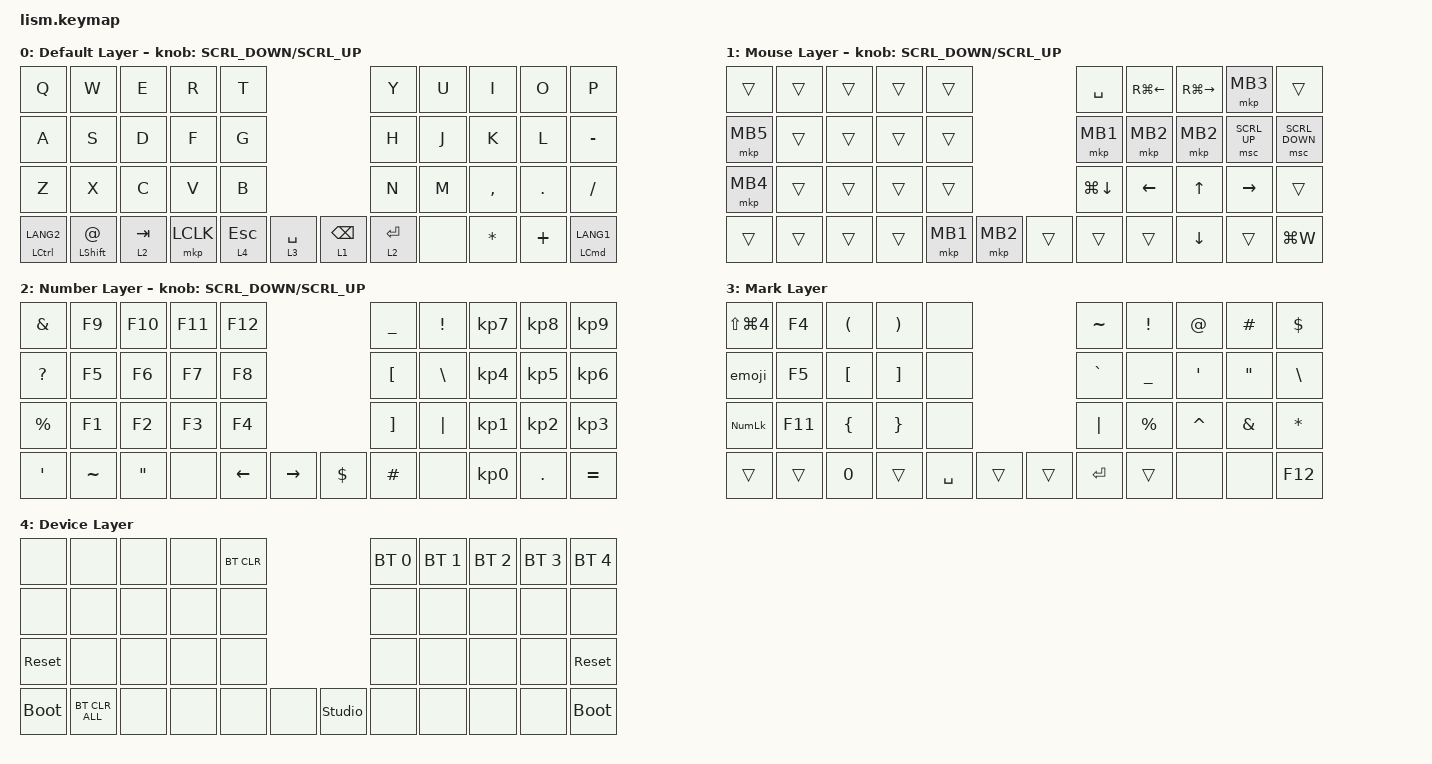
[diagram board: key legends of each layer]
#define ZMK_POINTING_DEFAULT_SCRL_VAL 200

#include <dt-bindings/zmk/mouse.h>
#include <behaviors.dtsi>
#include <dt-bindings/zmk/bt.h>
#include <dt-bindings/zmk/keys.h>
#include <dt-bindings/zmk/pointing.h>

&mt {
    tapping-term-ms = <300>;
    flavor = "balanced";
};

&lt { quick-tap-ms = <300>; };

/ {
    macros {
        emoji: emoji_macro {
            compatible = "zmk,behavior-macro";
            label = "EMOJI";
            #binding-cells = <0>;
            bindings =
                <&macro_press>,
                <&kp CAPSLOCK>,
                <&macro_tap>,
                <&kp E>,
                <&macro_release>,
                <&kp CAPSLOCK>;
        };
    };

    behaviors {
        encoder_msc: sensor_rotate_msc {
            compatible = "zmk,behavior-sensor-rotate-var";
            #sensor-binding-cells = <2>;
            bindings = <&msc>, <&msc>;

            tap-ms = <20>;
        };

        encoder_kp: sensor_rotate_kp {
            compatible = "zmk,behavior-sensor-rotate-var";
            #sensor-binding-cells = <2>;
            bindings = <&kp>, <&kp>;
        };
    };

    keymap {
        compatible = "zmk,keymap";

        default_layer {
            display-name = "Default Layer";
            bindings = <
&kp Q                   &kp W                   &kp E      &kp R      &kp T                                         &kp Y         &kp U  &kp I         &kp O     &kp P
&kp A                   &kp S                   &kp D      &kp F      &kp G                                         &kp H         &kp J  &kp K         &kp L     &kp MINUS
&kp Z                   &kp X                   &kp C      &kp V      &kp B                                         &kp N         &kp M  &kp COMMA     &kp DOT   &kp SLASH
&mt LEFT_CONTROL LANG2  &mt LEFT_SHIFT AT_SIGN  &lt 2 TAB  &mkp LCLK  &lt 4 ESCAPE  &lt 3 SPACE    &lt 1 BACKSPACE  &lt 2 RETURN  &none  &kp ASTERISK  &kp PLUS  &mt LEFT_COMMAND LANG1
            >;

            sensor-bindings = <&encoder_msc SCRL_DOWN SCRL_UP>;
        };

        layer_1 {
            display-name = "Mouse Layer";
            bindings = <
&trans    &trans  &trans  &trans  &trans                        &kp SPACE     &kp RG(LEFT)  &kp RG(RIGHT)  &mkp MB3      &trans
&mkp MB5  &trans  &trans  &trans  &trans                        &mkp MB1      &mkp MB2      &mkp MB2       &msc SCRL_UP  &msc SCRL_DOWN
&mkp MB4  &trans  &trans  &trans  &trans                        &kp LG(DOWN)  &kp LEFT      &kp UP         &kp RIGHT     &trans
&trans    &trans  &trans  &trans  &mkp MB1  &mkp MB2    &trans  &trans        &trans        &kp DOWN       &trans        &kp LG(W)
            >;

            sensor-bindings = <&encoder_msc SCRL_DOWN SCRL_UP>;
        };

        layer_2 {
            display-name = "Number Layer";
            bindings = <
&kp AMPERSAND  &kp F9     &kp F10            &kp F11  &kp F12                            &kp UNDERSCORE     &kp EXCLAMATION  &kp KP_N7        &kp KP_N8   &kp KP_N9
&kp QUESTION   &kp F5     &kp F6             &kp F7   &kp F8                             &kp LEFT_BRACKET   &kp BACKSLASH    &kp KP_N4        &kp KP_N5   &kp KP_N6
&kp PERCENT    &kp F1     &kp F2             &kp F3   &kp F4                             &kp RIGHT_BRACKET  &kp PIPE         &kp KP_N1        &kp KP_N2   &kp KP_N3
&kp SQT        &kp TILDE  &kp DOUBLE_QUOTES  &none    &kp LEFT  &kp RIGHT    &kp DOLLAR  &kp HASH           &none            &kp KP_NUMBER_0  &kp PERIOD  &kp EQUAL
            >;

            sensor-bindings = <&encoder_msc SCRL_DOWN SCRL_UP>;
        };

        layer_3 {
            display-name = "Mark Layer";
            bindings = <
&kp LS(LG(N4))  &kp F4   &kp LEFT_PARENTHESIS  &kp RIGHT_PARENTHESIS  &none                        &kp TILDE  &kp EXCLAMATION  &kp AT_SIGN       &kp HASH           &kp DOLLAR
&emoji          &kp F5   &kp LEFT_BRACKET      &kp RIGHT_BRACKET      &none                        &kp GRAVE  &kp UNDER        &kp SINGLE_QUOTE  &kp DOUBLE_QUOTES  &kp BACKSLASH
&kp KP_NUMLOCK  &kp F11  &kp LEFT_BRACE        &kp RIGHT_BRACE        &none                        &kp PIPE   &kp PERCENT      &kp CARET         &kp AMPERSAND      &kp ASTERISK
&trans          &trans   &kp NUMBER_0          &trans                 &kp SPACE  &trans    &trans  &kp ENTER  &trans           &none             &none              &kp F12
            >;
        };

        layer_4 {
            display-name = "Device Layer";
            bindings = <
&none        &none           &none  &none  &bt BT_CLR                           &bt BT_SEL 0  &bt BT_SEL 1  &bt BT_SEL 2  &bt BT_SEL 3  &bt BT_SEL 4
&none        &none           &none  &none  &none                                &none         &none         &none         &none         &none
&sys_reset   &none           &none  &none  &none                                &none         &none         &none         &none         &sys_reset
&bootloader  &bt BT_CLR_ALL  &none  &none  &none       &none    &studio_unlock  &none         &none         &none         &none         &bootloader
            >;
        };

        layer_5 {
            status = "reserved";
            display-name = "Brank Layer";
            bindings = <
&trans  &trans  &trans  &trans  &trans                    &trans  &trans  &trans  &trans  &trans
&trans  &trans  &trans  &trans  &trans                    &trans  &trans  &trans  &trans  &trans
&trans  &trans  &trans  &trans  &trans                    &trans  &trans  &trans  &trans  &trans
&trans  &trans  &trans  &trans  &trans  &trans    &trans  &trans  &trans  &trans  &trans  &trans
            >;
        };

        layer_6 {
            status = "reserved";
            display-name = "Brank Layer";
            bindings = <
&trans  &trans  &trans  &trans  &trans                    &trans  &trans  &trans  &trans  &trans
&trans  &trans  &trans  &trans  &trans                    &trans  &trans  &trans  &trans  &trans
&trans  &trans  &trans  &trans  &trans                    &trans  &trans  &trans  &trans  &trans
&trans  &trans  &trans  &trans  &trans  &trans    &trans  &trans  &trans  &trans  &trans  &trans
            >;
        };

        layer_7 {
            status = "reserved";
            display-name = "Brank Layer";
            bindings = <
&trans  &trans  &trans  &trans  &trans                    &trans  &trans  &trans  &trans  &trans
&trans  &trans  &trans  &trans  &trans                    &trans  &trans  &trans  &trans  &trans
&trans  &trans  &trans  &trans  &trans                    &trans  &trans  &trans  &trans  &trans
&trans  &trans  &trans  &trans  &trans  &trans    &trans  &trans  &trans  &trans  &trans  &trans
            >;
        };
    };
};
